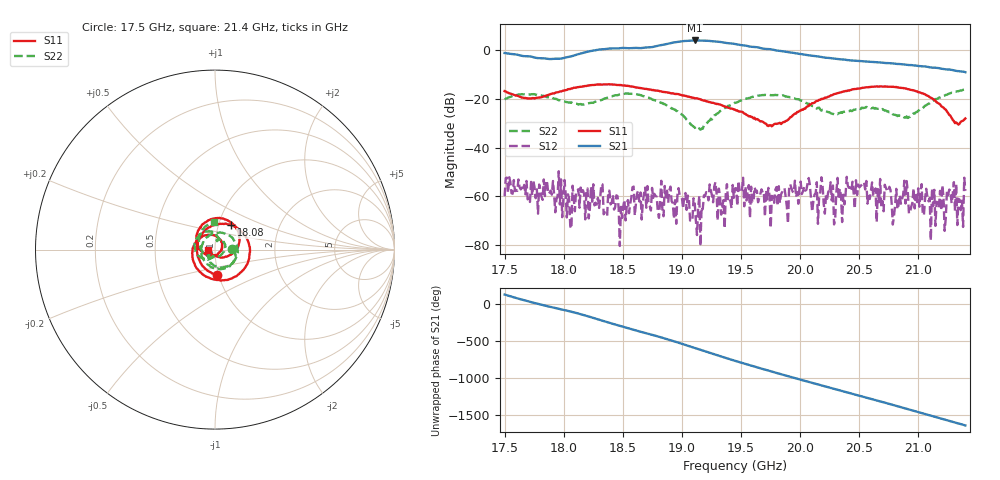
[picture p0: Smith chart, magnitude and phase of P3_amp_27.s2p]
!Created with skrf (http://scikit-rf.org).
# GHz S RI R 50.0
!freq ReS11 ImS11 ReS21 ImS21 ReS12 ImS12 ReS22 ImS22
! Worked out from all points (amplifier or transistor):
!   401 points, 17.5 GHz to 21.4 GHz, reference 50 ohm
!   highest |S21| = 3.8 dB at 19.11 GHz (marker M1)
!   |S21| within 3 dB of that: 18.68 GHz to 19.66 GHz (981.4 MHz wide, 5.12 % of centre)
!   unconditionally stable (mu >= 1): start of sweep to end of sweep
!   at 18.14 GHz: K = 377.44, MAG = -1.3 dB, |S12| = -56.4 dB
!   at 19.45 GHz: K = 257.42, MAG = 2.4 dB, |S12| = -56.7 dB
!   at 21.4 GHz: K = 1069.61, MAG = -9.0 dB, |S12| = -57.7 dB
!   S11 on the Smith chart (normalised r, x): 17.5 GHz: 0.98, -0.29; 18.08 GHz: 1.15, +0.32; 21.4 GHz: 0.92, -0.00
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17.5  0.00934 -0.1428  -0.5677 0.6466  -0.00101 9.83e-06  0.096 0.00182
17.7535  -0.0983 0.0229  0.6684 0.1931  0.000262 0.00148  0.0756 -0.0971
18.07525  0.0886 0.1365  -0.1973 -0.7221  0.00142 -0.000845  -0.0746 -0.0314
18.15325  0.1402 0.1058  -0.6416 -0.5604  0.00108 0.00019  -0.0741 0.0171
18.28975  0.1947 0.00439  -0.9242 0.3962  -0.000603 -0.000714  -0.0117 0.0894
18.44575  0.1464 -0.1248  0.1611 1.051  0.000927 0.000497  0.1019 0.0574
18.62125  0.00918 -0.1691  1.091 0.000122  0.000409 -0.00109  0.0927 -0.0804
18.8065  -0.1058 -0.0975  0.2216 -1.207  -4.65e-05 -0.00036  -0.00969 -0.0855
18.982  -0.1203 0.0151  -1.427 -0.3787  -0.000639 -0.000826  -0.0356 -0.0349
19.10875  -0.074 0.0693  -0.9713 1.215  -0.000229 0.000715  -0.0195 -0.0172
19.1965  -0.0392 0.0828  0.1898 1.526  -0.00059 0.000824  -0.00863 -0.0279
19.30375  0.00206 0.0782  1.301 0.6902  0.000319 1.72e-05  -0.0186 -0.0464
19.45  0.0343 0.0486  0.9321 -0.9303  0.00134 0.000587  -0.0645 -0.0522
19.567  0.0387 0.0196  -0.2222 -1.161  0.00167 -0.000319  -0.1008 -0.0224
19.73275  0.0223 -0.0161  -1.037 -0.0609  0.00149 4.16e-05  -0.1052 0.0579
19.90825  -0.0199 -0.0335  -0.2039 0.8653  0.000684 -0.00135  -0.0344 0.1028
20.10325  -0.0805 -0.00591  0.7237 0.2165  -0.000375 0.000309  0.0164 0.069
20.35675  -0.0964 0.0982  -0.0362 -0.6349  -0.000252 0.00016  0.0114 0.0501
20.55175  -0.0265 0.1677  -0.5756 -0.0229  0.00126 0.000577  0.0377 0.0541
20.7565  0.0847 0.1546  -0.0179 0.5334  0.000613 0.00145  0.0525 -0.00252
21.127  0.095 -0.0248  0.1114 -0.4153  -0.00044 0.000459  -0.087 0.0229
21.4  -0.0393 -0.00162  -0.3289 0.1156  -0.00129 -0.000234  -0.00774 0.1533
